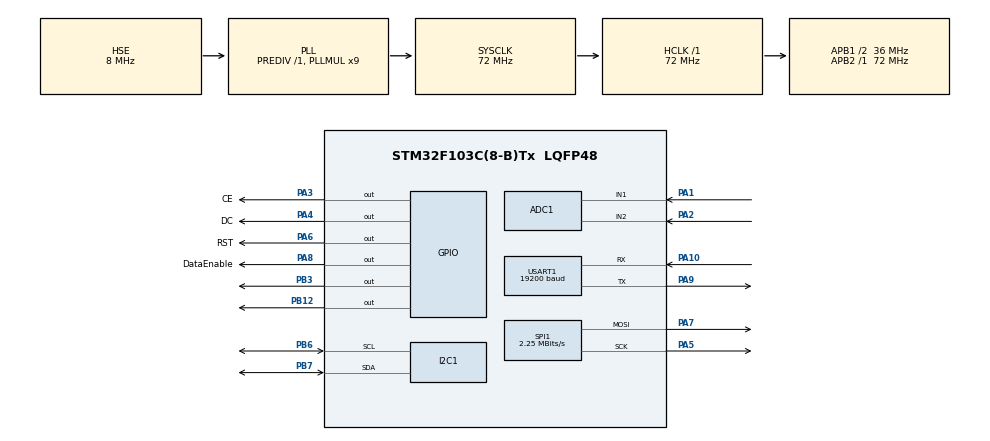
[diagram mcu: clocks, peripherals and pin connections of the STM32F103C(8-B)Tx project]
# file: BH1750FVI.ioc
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ADC1.Channel-40\#ChannelRegularConversion=ADC_CHANNEL_1
ADC1.NbrOfConversionFlag=1
ADC1.Rank-40\#ChannelRegularConversion=1
ADC1.SamplingTime-40\#ChannelRegularConversion=ADC_SAMPLETIME_1CYCLE_5
ADC1.master=1
I2C1.OwnAddress=72
Mcu.Family=STM32F1
Mcu.Name=STM32F103C(8-B)Tx
Mcu.Package=LQFP48
NVIC.PriorityGroup=NVIC_PRIORITYGROUP_4
NVIC.RTC_IRQn=true\:0\:0\:false\:false\:true
NVIC.TIM3_IRQn=true\:0\:0\:false\:false\:true
NVIC.TIM4_IRQn=true\:0\:0\:false\:false\:true
NVIC.USART1_IRQn=true\:0\:0\:false\:false\:true
PA1.Signal=ADCx_IN1
PA10.Mode=Asynchronous
PA10.Signal=USART1_RX
PA13.Mode=Serial_Wire
PA13.Signal=SYS_JTMS-SWDIO
PA14.Mode=Serial_Wire
PA14.Signal=SYS_JTCK-SWCLK
PA2.Signal=ADCx_IN2
PA3.GPIO_Label=CE
PA3.Signal=GPIO_Output
PA4.GPIO_Label=DC
PA4.Signal=GPIO_Output
PA5.Mode=TX_Only_Simplex_Unidirect_Master
PA5.Signal=SPI1_SCK
PA6.GPIO_Label=RST
PA6.Signal=GPIO_Output
PA7.Mode=TX_Only_Simplex_Unidirect_Master
PA7.Signal=SPI1_MOSI
PA8.GPIO_Label=DataEnable
PA8.GPIO_Speed=GPIO_SPEED_FREQ_HIGH
PA8.PinState=GPIO_PIN_RESET
PA8.Signal=GPIO_Output
PA9.Mode=Asynchronous
PA9.Signal=USART1_TX
PB12.Signal=GPIO_Output
PB3.GPIO_Speed=GPIO_SPEED_FREQ_HIGH
PB3.PinState=GPIO_PIN_SET
PB3.Signal=GPIO_Output
PB6.Mode=I2C
PB6.Signal=I2C1_SCL
PB7.Mode=I2C
PB7.Signal=I2C1_SDA
PD0-OSC_IN.Mode=HSE-External-Oscillator
PD0-OSC_IN.Signal=RCC_OSC_IN
PD1-OSC_OUT.Mode=HSE-External-Oscillator
PD1-OSC_OUT.Signal=RCC_OSC_OUT
ProjectManager.HeapSize=0x200
ProjectManager.StackSize=0x400
ProjectManager.TargetToolchain=SW4STM32
RCC.ADCPresc=RCC_ADCPCLK2_DIV6
RCC.AHBFreq_Value=72000000
RCC.APB1CLKDivider=RCC_HCLK_DIV2
RCC.APB1Freq_Value=36000000
RCC.APB1TimFreq_Value=72000000
RCC.APB2Freq_Value=72000000
RCC.APB2TimFreq_Value=72000000
RCC.HCLKFreq_Value=72000000
RCC.PLLMUL=RCC_PLL_MUL9
RCC.PLLSourceVirtual=RCC_PLLSOURCE_HSE
RCC.SYSCLKFreq_VALUE=72000000
RCC.SYSCLKSource=RCC_SYSCLKSOURCE_PLLCLK
RCC.USBFreq_Value=72000000
SH.ADCx_IN1.0=ADC1_IN1,IN1
SH.ADCx_IN2.0=ADC1_IN2,IN2
SPI1.BaudRatePrescaler=SPI_BAUDRATEPRESCALER_32
SPI1.CalculateBaudRate=2.25 MBits/s
SPI1.Direction=SPI_DIRECTION_2LINES
SPI1.Mode=SPI_MODE_MASTER
SPI1.VirtualType=VM_MASTER
TIM3.ClockDivision=TIM_CLOCKDIVISION_DIV1
TIM3.Period=500
TIM3.Prescaler=71
TIM4.Period=49
USART1.BaudRate=19200
USART1.VirtualMode=VM_ASYNC
VP_RTC_VS_RTC_Activate.Mode=RTC_Enabled
VP_RTC_VS_RTC_Calendar.Mode=RTC_Calendar
VP_TIM3_VS_ClockSourceINT.Mode=Internal
VP_TIM4_VS_ClockSourceINT.Mode=Internal
board=BH1750FVI

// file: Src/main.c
/**
  ******************************************************************************
  * File Name          : main.c
  * Description        : Main program body
  ******************************************************************************
  ** This notice applies to any and all portions of this file
  * that are not between comment pairs USER CODE BEGIN and
  * USER CODE END. Other portions of this file, whether
  * inserted by the user or by software development tools
  * are owned by their respective copyright owners.
  *
  * COPYRIGHT(c) 2017 STMicroelectronics
  *
  * Redistribution and use in source and binary forms, with or without modification,
  * are permitted provided that the following conditions are met:
  *   1. Redistributions of source code must retain the above copyright notice,
  *      this list of conditions and the following disclaimer.
  *   2. Redistributions in binary form must reproduce the above copyright notice,
  *      this list of conditions and the following disclaimer in the documentation
  *      and/or other materials provided with the distribution.
  *   3. Neither the name of STMicroelectronics nor the names of its contributors
  *      may be used to endorse or promote products derived from this software
  *      without specific prior written permission.
  *
  * THIS SOFTWARE IS PROVIDED BY THE COPYRIGHT HOLDERS AND CONTRIBUTORS "AS IS"
  * AND ANY EXPRESS OR IMPLIED WARRANTIES, INCLUDING, BUT NOT LIMITED TO, THE
  * IMPLIED WARRANTIES OF MERCHANTABILITY AND FITNESS FOR A PARTICULAR PURPOSE ARE
  * DISCLAIMED. IN NO EVENT SHALL THE COPYRIGHT HOLDER OR CONTRIBUTORS BE LIABLE
  * FOR ANY DIRECT, INDIRECT, INCIDENTAL, SPECIAL, EXEMPLARY, OR CONSEQUENTIAL
  * DAMAGES (INCLUDING, BUT NOT LIMITED TO, PROCUREMENT OF SUBSTITUTE GOODS OR
  * SERVICES; LOSS OF USE, DATA, OR PROFITS; OR BUSINESS INTERRUPTION) HOWEVER
  * CAUSED AND ON ANY THEORY OF LIABILITY, WHETHER IN CONTRACT, STRICT LIABILITY,
  * OR TORT (INCLUDING NEGLIGENCE OR OTHERWISE) ARISING IN ANY WAY OUT OF THE USE
  * OF THIS SOFTWARE, EVEN IF ADVISED OF THE POSSIBILITY OF SUCH DAMAGE.
  *
  ******************************************************************************
  */
#include "main.h"
#include "stm32f1xx_hal.h"
#include "adc.h"
#include "i2c.h"
#include "rtc.h"
#include "spi.h"
#include "tim.h"
#include "usart.h"
#include "gpio.h"

/* USER CODE BEGIN Includes */
#include "am2302.h"
#include "BV1750FVI.h"
#include "SoilMoisture.h"
#include "mbtask.h"
#include "lcd.h"
/* USER CODE END Includes */

/* USER CODE BEGIN PV */
/* Private variables ---------------------------------------------------------*/
unsigned int light=0;
/* USER CODE END PV */

void SystemClock_Config(void);

/* USER CODE BEGIN PFP */
/* Private function prototypes -----------------------------------------------*/

/* USER CODE END PFP */

/* USER CODE BEGIN 0 */
uint32_t multiplier;
void TM_DelayMicros(uint32_t micros) {
    /* Multiply micros with multipler */
    /* Substract 10 */
    micros = micros * multiplier - 10;
    /* 4 cycles for one loop */
    while (micros--);
}
/* USER CODE END 0 */

int main(void)
{

  /* MCU Configuration----------------------------------------------------------*/

  /* Reset of all peripherals, Initializes the Flash interface and the Systick. */
  HAL_Init();

  /* Configure the system clock */
  SystemClock_Config();

  /* Initialize all configured peripherals */
  MX_GPIO_Init();
  MX_I2C1_Init();
  MX_TIM3_Init();
  MX_ADC1_Init();
  MX_RTC_Init();
  MX_SPI1_Init();

  /* USER CODE BEGIN 2 */
  uint32_t frequency = HAL_RCC_GetHCLKFreq();
  multiplier = frequency/4000000;
  MX_TIM4_Init();
  MX_USART1_UART_Init();
  am2302_Init();
  LCD_init();
  LCD_print("Hello world!",0,0);
  /* USER CODE END 2 */

  /* Infinite loop */
  while (1)
  {
	  //LCD_refreshScr();
  /* USER CODE BEGIN 3 */
	  //ModbusRTUTask("asd");

  }
  /* USER CODE END 3 */

}

/** System Clock Configuration
*/
void SystemClock_Config(void)
{

  RCC_OscInitTypeDef RCC_OscInitStruct;
  RCC_ClkInitTypeDef RCC_ClkInitStruct;
  RCC_PeriphCLKInitTypeDef PeriphClkInit;

    /**Initializes the CPU, AHB and APB busses clocks
    */
  RCC_OscInitStruct.OscillatorType = RCC_OSCILLATORTYPE_LSI|RCC_OSCILLATORTYPE_HSE;
  RCC_OscInitStruct.HSEState = RCC_HSE_ON;
  RCC_OscInitStruct.HSEPredivValue = RCC_HSE_PREDIV_DIV1;
  RCC_OscInitStruct.HSIState = RCC_HSI_ON;
  RCC_OscInitStruct.LSIState = RCC_LSI_ON;
  RCC_OscInitStruct.PLL.PLLState = RCC_PLL_ON;
  RCC_OscInitStruct.PLL.PLLSource = RCC_PLLSOURCE_HSE;
  RCC_OscInitStruct.PLL.PLLMUL = RCC_PLL_MUL9;
  if (HAL_RCC_OscConfig(&RCC_OscInitStruct) != HAL_OK)
  {
    _Error_Handler(__FILE__, __LINE__);
  }

    /**Initializes the CPU, AHB and APB busses clocks
    */
  RCC_ClkInitStruct.ClockType = RCC_CLOCKTYPE_HCLK|RCC_CLOCKTYPE_SYSCLK
                              |RCC_CLOCKTYPE_PCLK1|RCC_CLOCKTYPE_PCLK2;
  RCC_ClkInitStruct.SYSCLKSource = RCC_SYSCLKSOURCE_PLLCLK;
  RCC_ClkInitStruct.AHBCLKDivider = RCC_SYSCLK_DIV1;
  RCC_ClkInitStruct.APB1CLKDivider = RCC_HCLK_DIV2;
  RCC_ClkInitStruct.APB2CLKDivider = RCC_HCLK_DIV1;

  if (HAL_RCC_ClockConfig(&RCC_ClkInitStruct, FLASH_LATENCY_2) != HAL_OK)
  {
    _Error_Handler(__FILE__, __LINE__);
  }

  PeriphClkInit.PeriphClockSelection = RCC_PERIPHCLK_RTC|RCC_PERIPHCLK_ADC;
  PeriphClkInit.RTCClockSelection = RCC_RTCCLKSOURCE_LSI;
  PeriphClkInit.AdcClockSelection = RCC_ADCPCLK2_DIV6;
  if (HAL_RCCEx_PeriphCLKConfig(&PeriphClkInit) != HAL_OK)
  {
    _Error_Handler(__FILE__, __LINE__);
  }

    /**Configure the Systick interrupt time
    */
  HAL_SYSTICK_Config(HAL_RCC_GetHCLKFreq()/1000);

    /**Configure the Systick
    */
  HAL_SYSTICK_CLKSourceConfig(SYSTICK_CLKSOURCE_HCLK);

  /* SysTick_IRQn interrupt configuration */
  HAL_NVIC_SetPriority(SysTick_IRQn, 0, 0);
}

void _Error_Handler(char * file, int line)
{
  while(1)
  {
  }
}

/************************ (C) COPYRIGHT STMicroelectronics *****END OF FILE****/
